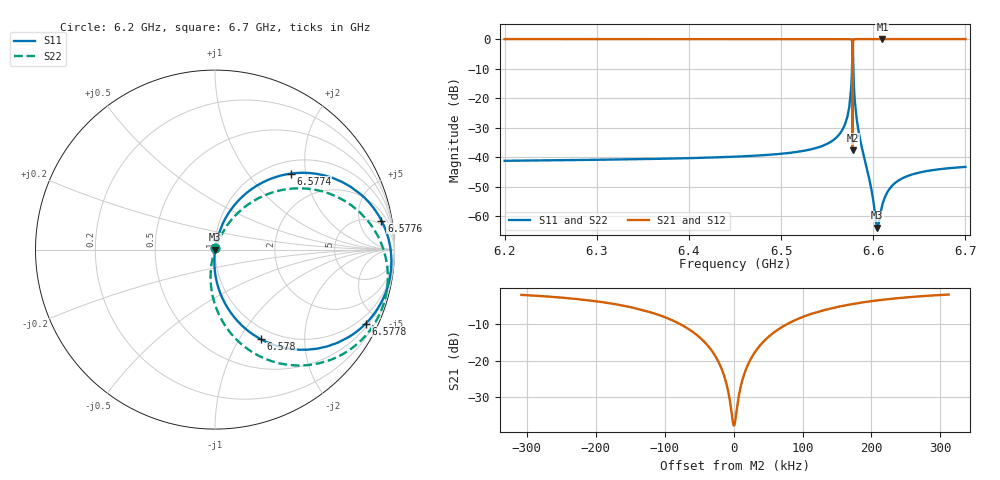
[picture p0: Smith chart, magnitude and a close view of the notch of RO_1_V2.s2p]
! Sonnet Data File
! From: em Version : 14.52
! From Project: RO_1
! Data is De-embedded
! Data File Written: 01/09/2019 01:55:58
!< HDATE 01/08/2019 16:42:51
!< MDATE 01/09/2019 01:37:34
# GHZ S MA R 50.00000
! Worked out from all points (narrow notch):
!   677 points, 6.2 GHz to 6.7 GHz, reference 50 ohm
!   highest |S21| = 0.00 dB at 6.61 GHz (marker M1); lowest = -37.7 dB at 6.5777 GHz (marker M2)
!   notch at M2: 37.5 dB deep, 52.5 kHz wide at half that depth
!   lowest |S11| = -64.0 dB at 6.604 GHz (marker M3), VSWR 1.00, Z = 50.1 - j0.0256 ohm
!   |S11| at or under -10 dB: start of sweep to 6.577 GHz; 6.5784 GHz to end of sweep
!   |S22| runs from -64.0 to -0.1 dB; largest |S21 - S12| = 0
!   S11 on the Smith chart (normalised r, x): 6.2 GHz: 1.00, +0.02; 6.5774 GHz: 1.25, +1.65; 6.5776 GHz: 4, +10; 6.5778 GHz: 0.64, -4.21; 6.578 GHz: 0.85, -1.24; 6.7 GHz: 1.00, +0.01
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6.2  0.00863 78.8  1 -12.6  1 -12.6  0.00863 76.1
!< P1 F=6.2 Eeff=(5.6707873 -5.1698e-6) Z0=(51.4004923 2.3433e-5) R=0.01048851 C=0.00223192
!< P2 F=6.2 Eeff=(5.6707873 -5.1698e-6) Z0=(51.4004923 2.3433e-5) R=0.01048851 C=0.00223192
6.284  0.008912 78.7  1 -12.7  1 -12.7  0.008912 75.8
6.368  0.009332 78.6  1 -12.9  1 -12.9  0.009332 75.5
6.45  0.01014 78.7  0.9999 -13.1  0.9999 -13.1  0.01014 75.1
6.534  0.01369 79.2  0.9999 -13.5  0.9999 -13.5  0.01369 73.8
6.568  0.0321 79.5  0.9995 -14.6  0.9995 -14.6  0.0321 71.2
6.576  0.1426 73.9  0.9895 -21.0  0.9895 -21.0  0.1426 64.0
6.57606  0.1474 73.6  0.9888 -21.3  0.9888 -21.3  0.1474 63.7
6.57696  0.3068 64.2  0.9506 -30.7  0.9506 -30.7  0.3068 54.0
6.57738  0.5973 45.1  0.7963 -49.5  0.7963 -49.5  0.5973 34.8
6.577615  0.9416 9.9  0.3006 -83.0  0.3006 -83.0  0.9416 -0.5
6.577664  0.9817 -1.6  0.1053 -89.8  0.1053 -89.8  0.9817 -12.0
6.577688  0.9871 -7.5  0.01309 -21.8  0.01309 -21.8  0.9871 -17.9
6.577714  0.9811 -13.9  0.1106 64.2  0.1106 64.2  0.9811 -24.3
6.577766  0.9355 -26.2  0.3191 56.4  0.3191 56.4  0.9355 -36.6
6.57802  0.5615 -62.9  0.8223 21.4  0.8223 21.4  0.5615 -73.4
6.57994  0.09279 -91.8  0.9956 -7.5  0.9956 -7.5  0.09279 -103.0
6.58  0.09019 -92.0  0.9958 -7.6  0.9958 -7.6  0.09018 -103.1
6.604  0.0006341 -23.8  1 -12.8  1 -12.8  0.0006318 178.2
6.61  0.00157 59.4  1 -12.9  1 -12.9  0.00157 94.6
6.618  0.002928 70.2  1 -13.0  1 -13.0  0.002928 83.7
6.7  0.006805 76.6  1 -13.4  1 -13.4  0.006805 76.6
